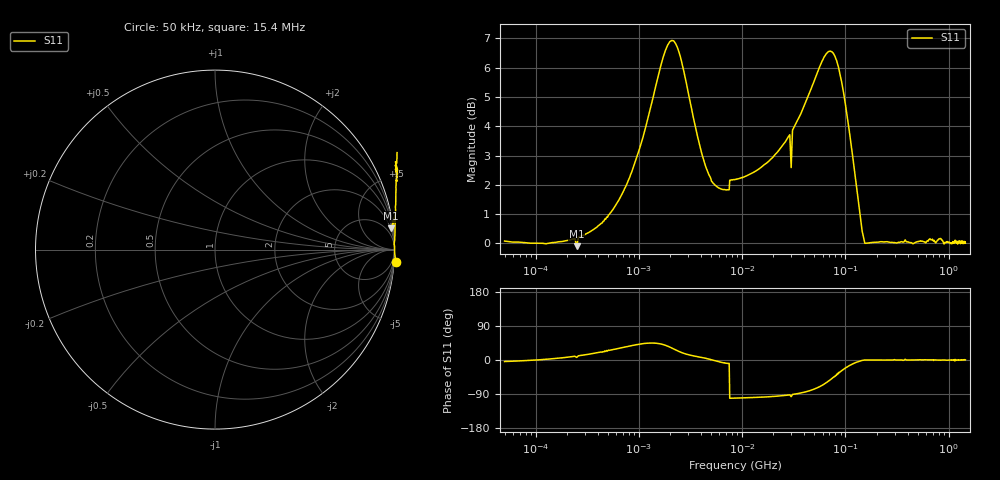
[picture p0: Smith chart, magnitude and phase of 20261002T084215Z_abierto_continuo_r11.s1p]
! piloto_saltos / abierto_continuo / r11
# HZ S RI R 50
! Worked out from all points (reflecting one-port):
!   501 points, 50 kHz to 1.45 GHz, reference 50 ohm
!   lowest |S11| = -0.1 dB at 249.5 kHz (marker M1), VSWR 181.87, Z = 76 + j826 ohm
!   phase of S11 starts at -4 deg and turns +5 deg over the sweep
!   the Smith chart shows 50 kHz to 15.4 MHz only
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50000  1.007 -0.0709
183000  1.002 0.1046
249500  0.982 0.1183
658000  1.02 0.627
1180000  1.146 1.112
1630000  1.491 1.354
1990000  1.831 1.239
2440000  1.96 0.8149
2890000  1.806 0.4912
3430000  1.589 0.2936
4870000  1.3 0.0424
7300000  1.219 -0.1926
7750000  -0.2421 -1.26
8560000  -0.2365 -1.264
1.63e7  -0.1827 -1.35
3.16e7  -0.0109 -1.577
4.69e7  0.3401 -1.812
5.5e7  0.624 -1.882
6.4e7  1.006 -1.841
7.39e7  1.4 -1.598
8.65e7  1.671 -1.067
9.82e7  1.628 -0.6743
1e8  1.61 -0.6202
1.18e8  1.378 -0.2438
1.36e8  1.148 -0.0685
1.63e8  1.001 -5.2e-05
4.06e8  1.005 0.0023
1.45e9  1.001 0.00869
